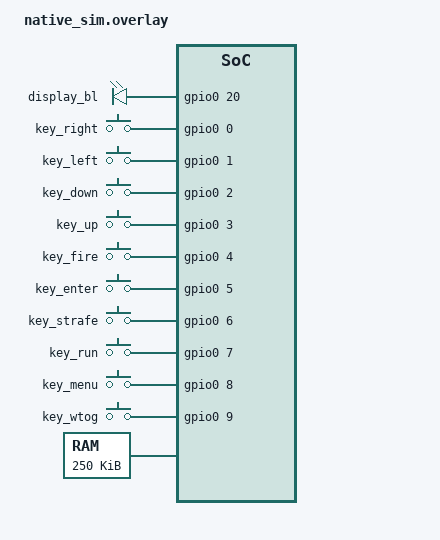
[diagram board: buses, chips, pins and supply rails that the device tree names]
#include <zephyr/dt-bindings/mipi_dbi/mipi_dbi.h>
#include <zephyr/dt-bindings/input/input-event-codes.h>

/{
	aliases 
	{
		// display-ctrl = &st7789;
		display-ctrl = &sdl_dc;
	};

	leds //backlight control is unused, but kept to reduce ifdef noise
	{
		compatible = "gpio-leds";
		display_bl: display_bl_node 
		{
			gpios = <&gpio0 20 GPIO_ACTIVE_HIGH>;
		};
	};

	gpio_keys
	{
		compatible = "gpio-keys";
		key_right:  key_right  { gpios = <&gpio0 0 GPIO_ACTIVE_HIGH>; zephyr,code = <INPUT_KEY_RIGHT>;     };
		key_left:   key_left   { gpios = <&gpio0 1 GPIO_ACTIVE_HIGH>; zephyr,code = <INPUT_KEY_LEFT>;      };
		key_down:   key_down   { gpios = <&gpio0 2 GPIO_ACTIVE_HIGH>; zephyr,code = <INPUT_KEY_DOWN>;      };
		key_up:     key_up     { gpios = <&gpio0 3 GPIO_ACTIVE_HIGH>; zephyr,code = <INPUT_KEY_UP>;        };
		key_fire:   key_fire   { gpios = <&gpio0 4 GPIO_ACTIVE_HIGH>; zephyr,code = <INPUT_KEY_LEFTCTRL>;  };
		key_enter:  key_enter  { gpios = <&gpio0 5 GPIO_ACTIVE_HIGH>; zephyr,code = <INPUT_KEY_SPACE>;     };
		key_strafe: key_strafe { gpios = <&gpio0 6 GPIO_ACTIVE_HIGH>; zephyr,code = <INPUT_KEY_LEFTALT>;   };
		key_run:    key_run    { gpios = <&gpio0 7 GPIO_ACTIVE_HIGH>; zephyr,code = <INPUT_KEY_LEFTSHIFT>; };
		key_menu:   key_menu   { gpios = <&gpio0 8 GPIO_ACTIVE_HIGH>; zephyr,code = <INPUT_KEY_ESC>;       };
		key_wtog:   key_wtog   { gpios = <&gpio0 9 GPIO_ACTIVE_HIGH>; zephyr,code = <INPUT_KEY_TAB>;       };
	};

	//dummy ram
	sram0: memory@3ffb0000 {
		compatible = "mmio-sram";
		reg = < 0x3ffb0000 0x3e800 >;
	};
};

&gpio0 
{
	ngpios = <10>;
	sdl_gpio
	{
		compatible = "zephyr,gpio-emul-sdl";
		// sdl2 lib internal scan codes
		scancodes = 
		<
			/* must match gpio_keys order */
			79  /* SDL_SCANCODE_RIGHT */
			80  /* SDL_SCANCODE_LEFT */
			81  /* SDL_SCANCODE_DOWN */
			82  /* SDL_SCANCODE_UP */
			224 /* SDL_SCANCODE_LCTRL */
			44  /* SDL_SCANCODE_SPACE */
			226 /* SDL_SCANCODE_LALT */
			225 /* SDL_SCANCODE_LSHIFT */
			41  /* SDL_SCANCODE_ESCAPE */
			43  /* SDL_SCANCODE_TAB */
		>;
	};
};

/delete-node/ &slot0_partition;
/delete-node/ &slot1_partition;
/delete-node/ &storage_partition;
/delete-node/ &scratch_partition;
&flash0
{
	// reg = <0x0 DT_SIZE_M(16)>; //address, size(16MB)
	reg = <0x10000000 DT_SIZE_M(64)>; //address, size(16MB)
	partitions
	{
		slot0_partition: partition@0
		{
			label = "image-0";
			reg = < 0x0 DT_SIZE_K(512) >;
			read-only;
		};
		game_settings_partition: partition@81000
		{
			label = "game-settings-partition";
			reg = < 0x81000 0x1000 >;
		};
		game_saves_partition: partition@82000
		{
			label = "game-saves-partition";
			reg = < 0x82000 0x1000 >;
		};
		cache_partition: partition@83000
		{
			label = "cache-partition";
			reg = < 0x83000 (0x22b000 - 0x83000) >;
		};
		wad_partition: partition@22b000
		{
			label = "wad-partition";
			reg = < 0x22b000 (DT_SIZE_M(16) - 0x22b000) >;
			read-only;
		};
	};
};

&sdl_dc
{
	// status = "disabled";
	height = < 135 >;
	width = < 240 >;
};
